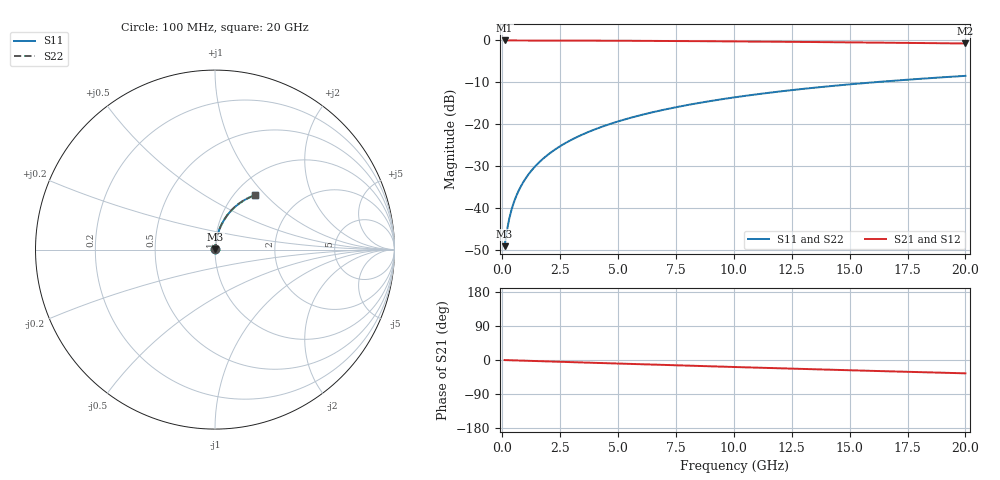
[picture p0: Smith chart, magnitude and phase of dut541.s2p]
! Touchstone file exported from HFSS 2026.1.0
!  File:  C:/ffzhzh/LocalFiles/Ansys_Project_Files/temp_train_TMRDL_541_1783007476_51716.aedt
!  Generated:  11:52:37 PM Jul  2, 2026
!  Design:  TMRDL
!  Project:  temp_train_TMRDL_541_1783007476_51716
! Variables:
!  h_bsmrdl = 2um
!  h_ox = 20um
!  h_rdl = 5um
!  h_sub = 80um
!  h_tmrdl = 2.99um
!  h_tsv = 80um
!  h_via = 3um
!  l_bsmrdl = 300um
!  l_sub = 848.69um
!  l_tmrdl = 448.69um
!  m_sub = 200um
!  pitch = 59.5um
!  r_tsv = 6um
!  s_tmrdl = 10um
!  w_bsmrdl = 18um
!  w_sub = 500um
!  w_tmrdl = 22.63um
!  x_tsv_center1 = 460.005um
!  x_tsv_center2 = 778.005um
!  x_tsv_center3 = 1249.325um
!  x_tsv_center4 = 1567.325um
!  x_tsv_center5 = 2038.645um
!  x_tsv_center6 = 2356.645um
# GHz S MA R 50.000000
! Terminal data exported
! Port[1] = TM_RDL1_1_T1
! Port[2] = TM_RDL1_1_T2
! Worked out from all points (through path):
!   200 points, 100 MHz to 20 GHz, reference 50 ohm
!   highest |S21| = -0.02 dB at 100 MHz (marker M1); lowest = -0.7 dB at 20 GHz (marker M2)
!   group delay of S21, straight-line fit = 4.9 ps
!   lowest |S11| = -49.1 dB at 100 MHz (marker M3), VSWR 1.01, Z = 50.3 + j0.234 ohm
!   |S11| at or under -10 dB: start of sweep to 16.07 GHz
!   |S22| runs from -49.1 to -8.5 dB; largest |S21 - S12| = 2.6e-15
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0.1  0.003491 41.9  0.9974 -0.2  0.9974 -0.2  0.003491 41.9
! Gamma 0 0 0 0
! Port Impedance 50 0 50 0
0.2  0.005359 59.6  0.9973 -0.4  0.9973 -0.4  0.005359 59.6
0.3  0.007432 67.4  0.9972 -0.6  0.9972 -0.6  0.007432 67.4
0.4  0.009542 71.6  0.9971 -0.8  0.9971 -0.8  0.009542 71.6
0.5  0.01166 74.2  0.997 -1.0  0.997 -1.0  0.01166 74.2
0.6  0.01378 76.1  0.9969 -1.2  0.9969 -1.2  0.01378 76.1
0.8  0.01803 78.4  0.9967 -1.5  0.9967 -1.5  0.01803 78.4
1.1  0.02444 80.3  0.9965 -2.1  0.9965 -2.1  0.02444 80.3
1.5  0.03303 81.4  0.9961 -2.8  0.9961 -2.8  0.03303 81.4
1.8  0.03949 81.7  0.9958 -3.4  0.9958 -3.4  0.03949 81.7
2.1  0.04595 81.7  0.9955 -4.0  0.9955 -4.0  0.04595 81.7
2.7  0.05885 81.4  0.9947 -5.1  0.9947 -5.1  0.05885 81.4
3.5  0.07598 80.5  0.9933 -6.6  0.9933 -6.6  0.07598 80.5
4.2  0.09087 79.6  0.9919 -7.9  0.9919 -7.9  0.09087 79.6
5  0.1077 78.3  0.9899 -9.4  0.9899 -9.4  0.1077 78.3
5.9  0.1265 76.9  0.9874 -11.0  0.9874 -11.0  0.1265 76.9
6.8  0.145 75.4  0.9845 -12.7  0.9845 -12.7  0.145 75.4
8.3  0.1751 72.8  0.9791 -15.4  0.9791 -15.4  0.1751 72.8
10.1  0.2102 69.7  0.9716 -18.6  0.9716 -18.6  0.2102 69.7
13.4  0.2708 64.1  0.9556 -24.4  0.9556 -24.4  0.2708 64.1
16.7  0.3265 58.7  0.9374 -29.9  0.9374 -29.9  0.3265 58.7
20  0.3768 53.6  0.918 -35.2  0.918 -35.2  0.3768 53.6
